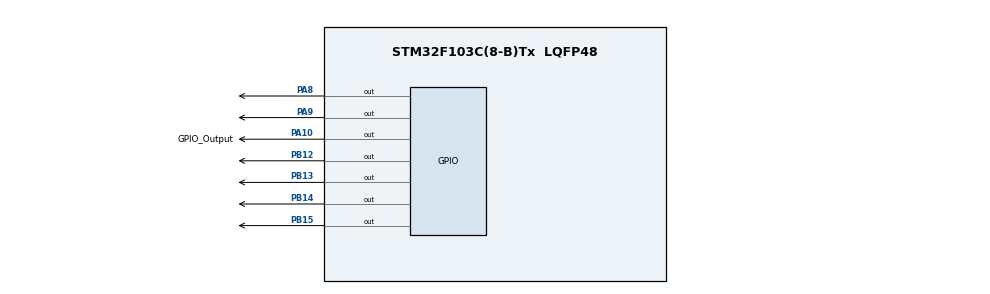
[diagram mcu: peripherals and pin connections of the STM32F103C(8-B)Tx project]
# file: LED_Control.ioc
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Mcu.Family=STM32F1
RCC.PLLSourceVirtual=RCC_PLLSOURCE_HSE
PD1-OSC_OUT.Mode=HSE-External-Clock-Source
PD0-OSC_IN.Signal=RCC_OSC_IN
RCC.APB1CLKDivider=RCC_HCLK_DIV2
PB13.Signal=GPIO_Output
PB15.Signal=GPIO_Output
RCC.SYSCLKSource=RCC_SYSCLKSOURCE_PLLCLK
ProjectManager.StackSize=0x400
PD1-OSC_OUT.Signal=RCC_OSC_OUT
PA13.Signal=SYS_JTMS-SWDIO
ProjectManager.TargetToolchain=STM32CubeIDE
RCC.HCLKFreq_Value=72000000
RCC.APB2TimFreq_Value=72000000
PA9.Signal=GPIO_Output
RCC.USBFreq_Value=72000000
RCC.AHBFreq_Value=72000000
PD0-OSC_IN.Mode=HSE-External-Clock-Source
PB14.Signal=GPIO_Output
board=custom
RCC.PLLMUL=RCC_PLL_MUL9
RCC.APB2Freq_Value=72000000
PA14.Mode=Serial_Wire
PA10.GPIO_Label=GPIO_Output
PA8.Signal=GPIO_Output
PA13.Mode=Serial_Wire
Mcu.Name=STM32F103C(8-B)Tx
RCC.SYSCLKFreq_VALUE=72000000
Mcu.Package=LQFP48
PA10.Signal=GPIO_Output
PA14.Signal=SYS_JTCK-SWCLK
ProjectManager.HeapSize=0x200
NVIC.PriorityGroup=NVIC_PRIORITYGROUP_4
RCC.APB1TimFreq_Value=72000000
RCC.APB1Freq_Value=36000000
PB12.Signal=GPIO_Output

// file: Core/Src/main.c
/* USER CODE BEGIN Header */
/**
  ******************************************************************************
  * @file           : main.c
  * @brief          : Main program body
  ******************************************************************************
  * @attention
  *
  * <h2><center>&copy; Copyright (c) 2021 STMicroelectronics.
  * All rights reserved.</center></h2>
  *
  * This software component is licensed by ST under BSD 3-Clause license,
  * the "License"; You may not use this file except in compliance with the
  * License. You may obtain a copy of the License at:
  *                        opensource.org/licenses/BSD-3-Clause
  *
  ******************************************************************************
  */
/* USER CODE END Header */
#include "main.h"

/* USER CODE BEGIN PD */
#define LED1		LL_GPIO_PIN_10
#define LED2		LL_GPIO_PIN_9
#define LED3		LL_GPIO_PIN_8

/* USER CODE END PD */

void SystemClock_Config(void);
static void MX_GPIO_Init(void);

int main(void)
{
  /* USER CODE BEGIN 1 */
	uint8_t led1 = 0x00u;
	uint8_t led2 = 0x00u;
	uint8_t led3 = 0x00u;
	uint32_t led_status = 0x00u;
	uint32_t old_led_status = 0x00u;
  /* USER CODE END 1 */

  /* MCU Configuration--------------------------------------------------------*/

  /* Reset of all peripherals, Initializes the Flash interface and the Systick. */

  LL_APB2_GRP1_EnableClock(LL_APB2_GRP1_PERIPH_AFIO);
  LL_APB1_GRP1_EnableClock(LL_APB1_GRP1_PERIPH_PWR);

  NVIC_SetPriorityGrouping(NVIC_PRIORITYGROUP_4);

  /* System interrupt init*/

  /** NOJTAG: JTAG-DP Disabled and SW-DP Enabled
  */
  LL_GPIO_AF_Remap_SWJ_NOJTAG();

  /* Configure the system clock */
  SystemClock_Config();

  /* Initialize all configured peripherals */
  MX_GPIO_Init();

  /* Infinite loop */
  /* USER CODE BEGIN WHILE */
  while (1)
  {
#if 0
	 if (led1 >= 1u)
	 {
		 led_status ^= LED1;
		 led1 = 0u;
	 }

	 if (led2 >= 5u)
	 {
		 led_status ^= LED2;
		 led2 = 0u;
	 }

	 if (led3 >= 10u)
	 {
		led_status ^= LED3;
		led3 = 0u;
	 }

	 if (old_led_status != led_status)
	 {
		 LL_GPIO_WriteOutputPort(GPIOA, led_status);
		 old_led_status = led_status;
	 }
	 led1++;
	 led2++;
	 led3++;
	 LL_mDelay(1000); //1s
#else
	  LL_GPIO_WriteOutputPort(GPIOA, LL_GPIO_PIN_ALL);
	  LL_GPIO_WriteOutputPort(GPIOB, LL_GPIO_PIN_ALL);
	 //LL_mDelay(1000); //1s
	 //LL_GPIO_ResetOutputPin(GPIOA, LL_GPIO_PIN_10);
	 //LL_mDelay(1000); //1s
#endif
    /* USER CODE END WHILE */

  }
}

void SystemClock_Config(void)
{
  LL_FLASH_SetLatency(LL_FLASH_LATENCY_2);
  while(LL_FLASH_GetLatency()!= LL_FLASH_LATENCY_2)
  {
  }
  LL_RCC_HSE_EnableBypass();
  LL_RCC_HSE_Enable();

   /* Wait till HSE is ready */
  while(LL_RCC_HSE_IsReady() != 1)
  {

  }
  LL_RCC_PLL_ConfigDomain_SYS(LL_RCC_PLLSOURCE_HSE_DIV_1, LL_RCC_PLL_MUL_9);
  LL_RCC_PLL_Enable();

   /* Wait till PLL is ready */
  while(LL_RCC_PLL_IsReady() != 1)
  {

  }
  LL_RCC_SetAHBPrescaler(LL_RCC_SYSCLK_DIV_1);
  LL_RCC_SetAPB1Prescaler(LL_RCC_APB1_DIV_2);
  LL_RCC_SetAPB2Prescaler(LL_RCC_APB2_DIV_1);
  LL_RCC_SetSysClkSource(LL_RCC_SYS_CLKSOURCE_PLL);

   /* Wait till System clock is ready */
  while(LL_RCC_GetSysClkSource() != LL_RCC_SYS_CLKSOURCE_STATUS_PLL)
  {

  }
  LL_Init1msTick(72000000);
  LL_SetSystemCoreClock(72000000);
}

static void MX_GPIO_Init(void)
{
  LL_GPIO_InitTypeDef GPIO_InitStruct = {0};

  /* GPIO Ports Clock Enable */
  LL_APB2_GRP1_EnableClock(LL_APB2_GRP1_PERIPH_GPIOD);
  LL_APB2_GRP1_EnableClock(LL_APB2_GRP1_PERIPH_GPIOB);
  LL_APB2_GRP1_EnableClock(LL_APB2_GRP1_PERIPH_GPIOA);

  /**/
  LL_GPIO_ResetOutputPin(GPIOB, LL_GPIO_PIN_12|LL_GPIO_PIN_13|LL_GPIO_PIN_14|LL_GPIO_PIN_15);

  /**/
  LL_GPIO_ResetOutputPin(GPIOA, LL_GPIO_PIN_8|LL_GPIO_PIN_9|GPIO_Output_Pin);

  /**/
  GPIO_InitStruct.Pin = LL_GPIO_PIN_12|LL_GPIO_PIN_13|LL_GPIO_PIN_14|LL_GPIO_PIN_15;
  GPIO_InitStruct.Mode = LL_GPIO_MODE_OUTPUT;
  GPIO_InitStruct.Speed = LL_GPIO_SPEED_FREQ_LOW;
  GPIO_InitStruct.OutputType = LL_GPIO_OUTPUT_PUSHPULL;
  LL_GPIO_Init(GPIOB, &GPIO_InitStruct);

  /**/
  GPIO_InitStruct.Pin = LL_GPIO_PIN_8|LL_GPIO_PIN_9|GPIO_Output_Pin;
  GPIO_InitStruct.Mode = LL_GPIO_MODE_OUTPUT;
  GPIO_InitStruct.Speed = LL_GPIO_SPEED_FREQ_LOW;
  GPIO_InitStruct.OutputType = LL_GPIO_OUTPUT_PUSHPULL;
  LL_GPIO_Init(GPIOA, &GPIO_InitStruct);

}

void Error_Handler(void)
{
  __disable_irq();
  while (1)
  {
  }
}

/************************ (C) COPYRIGHT STMicroelectronics *****END OF FILE****/
